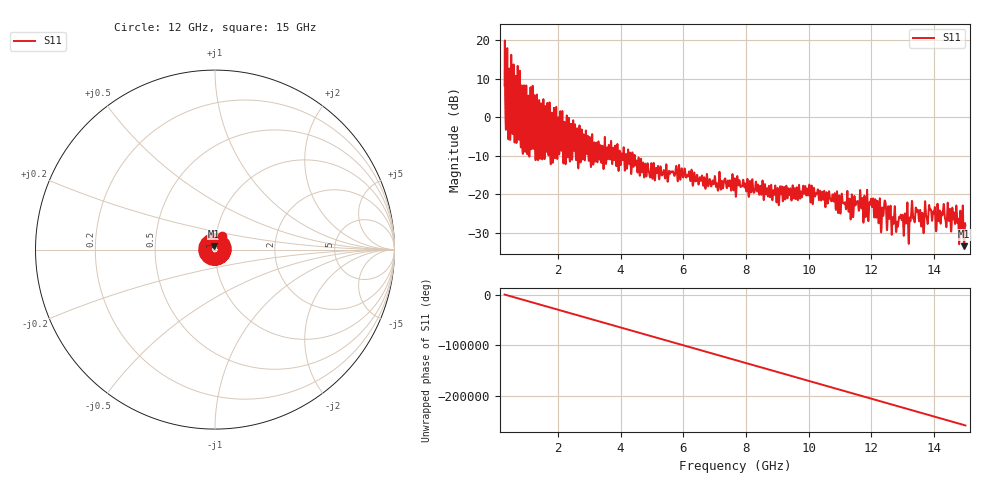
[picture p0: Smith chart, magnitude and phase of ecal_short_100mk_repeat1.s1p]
# GHZ S RI R 50.0
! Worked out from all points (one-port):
!   12801 points, 300 MHz to 15 GHz, reference 50 ohm
!   lowest |S11| = -33.4 dB at 14.96 GHz (marker M1), VSWR 1.04, Z = 49.4 + j2.04 ohm
!   |S11| at or under -10 dB: 4.311 GHz to 4.368 GHz (57.02 MHz wide, 1.31 % of centre); 4.385 GHz to 4.442 GHz (57.11 MHz wide, 1.29 % of centre); 4.453 GHz to end of sweep (the widest 3 of 43)
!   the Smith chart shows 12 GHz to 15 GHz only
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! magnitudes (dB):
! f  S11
! 300 MHz  8.2
! 410.2 MHz  -3.4
! 780 MHz  3.0
! 821.4 MHz  -7.7
! 1.024 GHz  -9.6
! 1.189 GHz  1.5
! 1.43 GHz  -10.8
! 1.67 GHz  0.1
! 1.831 GHz  -11.4
! 2.138 GHz  0.6
! 2.234 GHz  -11.4
! 2.547 GHz  -1.9
! 2.652 GHz  -13.2
! 3.975 GHz  -8.9
! 5.812 GHz  -16.1
! 7.65 GHz  -17.1
! 9.488 GHz  -17.7
! 11.32 GHz  -24.8
! 12 GHz  -21.6
! 12.28 GHz  -22.0
! 12.41 GHz  -23.1
! 12.64 GHz  -30.1
! 13.16 GHz  -24.9
! 13.35 GHz  -26.0
! 13.63 GHz  -24.8
! 14.29 GHz  -23.1
! 14.96 GHz  -33.4
! 15 GHz  -28.0
